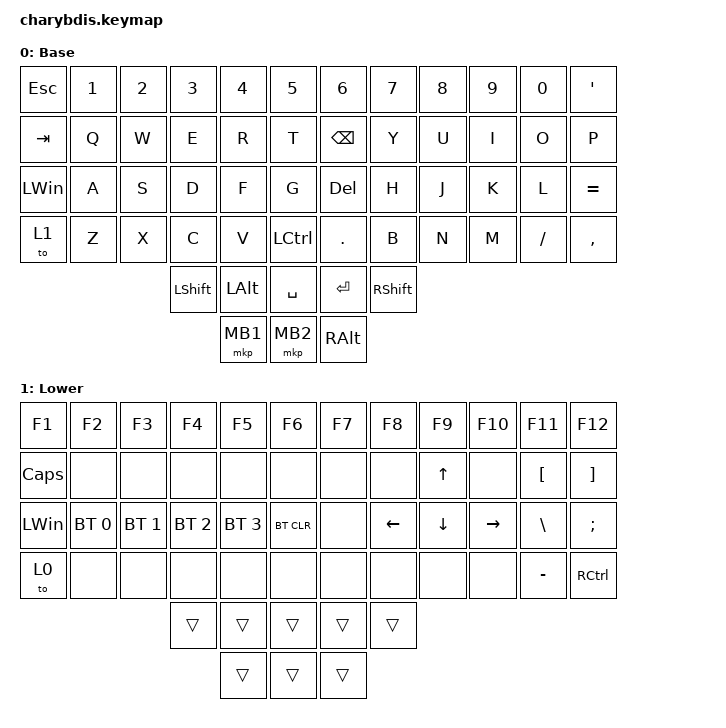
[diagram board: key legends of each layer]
#include <behaviors.dtsi>
#include <dt-bindings/zmk/bt.h>
#include <dt-bindings/zmk/keys.h>
#include <dt-bindings/zmk/pointing.h>

// ----------------------------------------------------------------
// 판매자 원본 키맵 복원 (사진 기반)
// ----------------------------------------------------------------

&sk {
    release-after-ms = <600>;
    quick-release;
};

&sl { ignore-modifiers; };

/ {
    chosen { zmk,physical-layout = &charybdis_6col_layout; };

    keymap {
        compatible = "zmk,keymap";

        // [Layer 0] 기본 타자 & 마우스 클릭

        Base {
            label = "Base";
            bindings = <
&kp ESC       &kp N1  &kp N2  &kp N3          &kp N4        &kp N5              &kp N6         &kp N7           &kp N8  &kp N9  &kp N0    &kp SQT
&kp TAB       &kp Q   &kp W   &kp E           &kp R         &kp T               &kp BACKSPACE  &kp Y            &kp U   &kp I   &kp O     &kp P
&kp LEFT_WIN  &kp A   &kp S   &kp D           &kp F         &kp G               &kp DEL        &kp H            &kp J   &kp K   &kp L     &kp EQUAL
&to 1         &kp Z   &kp X   &kp C           &kp V         &kp LEFT_CONTROL    &kp PERIOD     &kp B            &kp N   &kp M   &kp FSLH  &kp COMMA
                              &kp LEFT_SHIFT  &kp LEFT_ALT  &kp SPACE           &kp ENTER      &kp RIGHT_SHIFT
                                              &mkp MB1      &mkp MB2            &kp RIGHT_ALT
            >;
        };

        // [Layer 1] 펑션키, 화살표, 블루투스 초기화

        Lower {
            label = "Lower";
            bindings = <
&kp F1        &kp F2        &kp F3        &kp F4        &kp F5        &kp F6        &kp F7  &kp F8    &kp F9    &kp F10    &kp F11           &kp F12
&kp CAPS      &none         &none         &none         &none         &none         &none   &none     &kp UP    &none      &kp LEFT_BRACKET  &kp RIGHT_BRACKET
&kp LEFT_WIN  &bt BT_SEL 0  &bt BT_SEL 1  &bt BT_SEL 2  &bt BT_SEL 3  &bt BT_CLR    &none   &kp LEFT  &kp DOWN  &kp RIGHT  &kp BACKSLASH     &kp SEMICOLON
&to 0         &none         &none         &none         &none         &none         &none   &none     &none     &none      &kp MINUS         &kp RIGHT_CONTROL
                                          &trans        &trans        &trans        &trans  &trans
                                                        &trans        &trans        &trans
            >;
        };
    };
};
